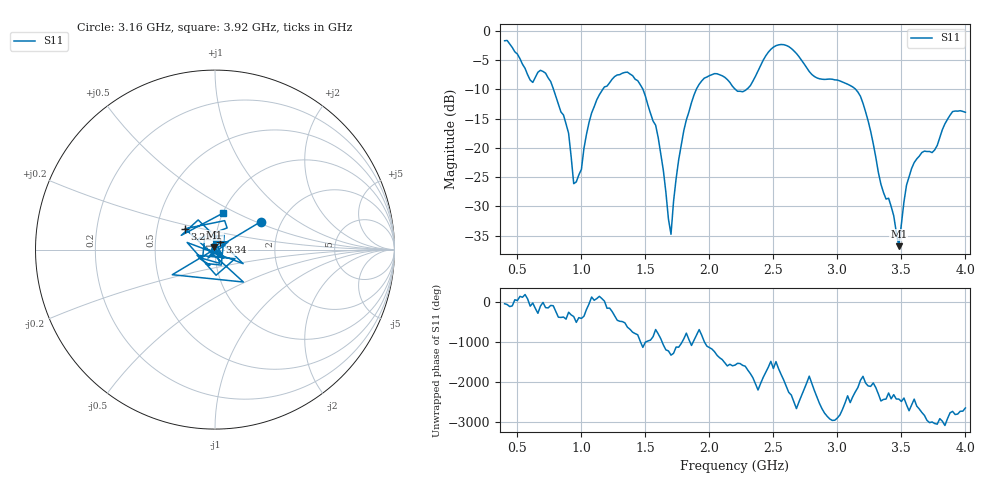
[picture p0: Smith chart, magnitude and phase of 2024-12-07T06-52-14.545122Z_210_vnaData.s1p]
!Created with skrf (http://scikit-rf.org).
# Hz S RI R 50.0
!freq ReS11 ImS11
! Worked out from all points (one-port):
!   181 points, 400 MHz to 4 GHz, reference 50 ohm
!   lowest |S11| = -36.8 dB at 3.48 GHz (marker M1), VSWR 1.03, Z = 49.6 + j1.39 ohm
!   |S11| at or under -10 dB: 782.1 MHz to 1.167 GHz (385.3 MHz wide, 39.5 % of centre); 1.481 GHz to 1.898 GHz (417.3 MHz wide, 24.7 % of centre); 3.142 GHz to end of sweep (the widest 3 of 4)
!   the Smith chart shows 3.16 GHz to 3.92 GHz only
!   S11 on the Smith chart (normalised r, x): 3.16 GHz: 1.57, +0.54; 3.22 GHz: 0.70, +0.17; 3.34 GHz: 1.05, +0.09; 3.92 GHz: 1.00, +0.42
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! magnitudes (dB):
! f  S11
! 400 MHz  -1.7
! 620 MHz  -8.8
! 720 MHz  -7.2
! 860 MHz  -14.4
! 900 MHz  -17.5
! 940 MHz  -26.1
! 960 MHz  -25.8
! 1.12 GHz  -11.8
! 1.3 GHz  -7.5
! 1.44 GHz  -8.5
! 1.58 GHz  -16.1
! 1.7 GHz  -34.8
! 1.76 GHz  -22.0
! 1.82 GHz  -15.2
! 1.94 GHz  -8.6
! 2.2 GHz  -10.0
! 2.3 GHz  -9.8
! 2.5 GHz  -2.8
! 2.66 GHz  -3.4
! 3.1 GHz  -9.4
! 3.16 GHz  -10.5
! 3.22 GHz  -13.8
! 3.34 GHz  -26.2
! 3.42 GHz  -30.0
! 3.48 GHz  -36.8
! 3.56 GHz  -24.9
! 3.92 GHz  -13.7
! 4 GHz  -13.9
